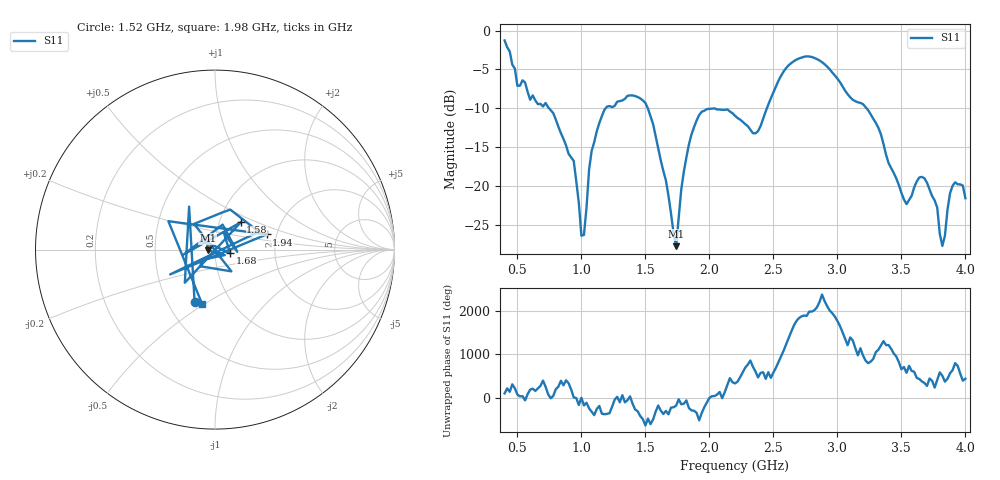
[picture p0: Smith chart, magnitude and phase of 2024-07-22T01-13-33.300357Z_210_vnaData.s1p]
!Created with skrf (http://scikit-rf.org).
# Hz S RI R 50.0
!freq ReS11 ImS11
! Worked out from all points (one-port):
!   181 points, 400 MHz to 4 GHz, reference 50 ohm
!   lowest |S11| = -27.8 dB at 1.74 GHz (marker M1), VSWR 1.09, Z = 46.1 - j0.336 ohm
!   |S11| at or under -10 dB: 746.2 MHz to 1.19 GHz (444 MHz wide, 45.9 % of centre); 1.518 GHz to 2.45 GHz (931.3 MHz wide, 46.9 % of centre); 3.226 GHz to end of sweep
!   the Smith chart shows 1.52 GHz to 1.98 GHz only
!   S11 on the Smith chart (normalised r, x): 1.52 GHz: 0.68, -0.44; 1.58 GHz: 1.26, +0.40; 1.68 GHz: 1.18, -0.05; 1.94 GHz: 1.77, +0.33; 1.98 GHz: 0.73, -0.49
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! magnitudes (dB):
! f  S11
! 400 MHz  -1.3
! 500 MHz  -7.1
! 860 MHz  -14.0
! 940 MHz  -16.8
! 1 GHz  -26.4
! 1.02 GHz  -26.3
! 1.06 GHz  -17.9
! 1.12 GHz  -13.0
! 1.3 GHz  -9.1
! 1.52 GHz  -10.1
! 1.58 GHz  -13.6
! 1.68 GHz  -21.3
! 1.74 GHz  -27.8
! 1.76 GHz  -24.1
! 1.84 GHz  -14.7
! 1.94 GHz  -10.5
! 1.98 GHz  -10.1
! 2.2 GHz  -11.0
! 2.38 GHz  -13.0
! 2.66 GHz  -3.9
! 3.1 GHz  -8.6
! 3.3 GHz  -11.9
! 3.56 GHz  -21.8
! 3.68 GHz  -19.0
! 3.78 GHz  -22.8
! 3.82 GHz  -27.8
! 3.9 GHz  -20.0
! 4 GHz  -21.6
